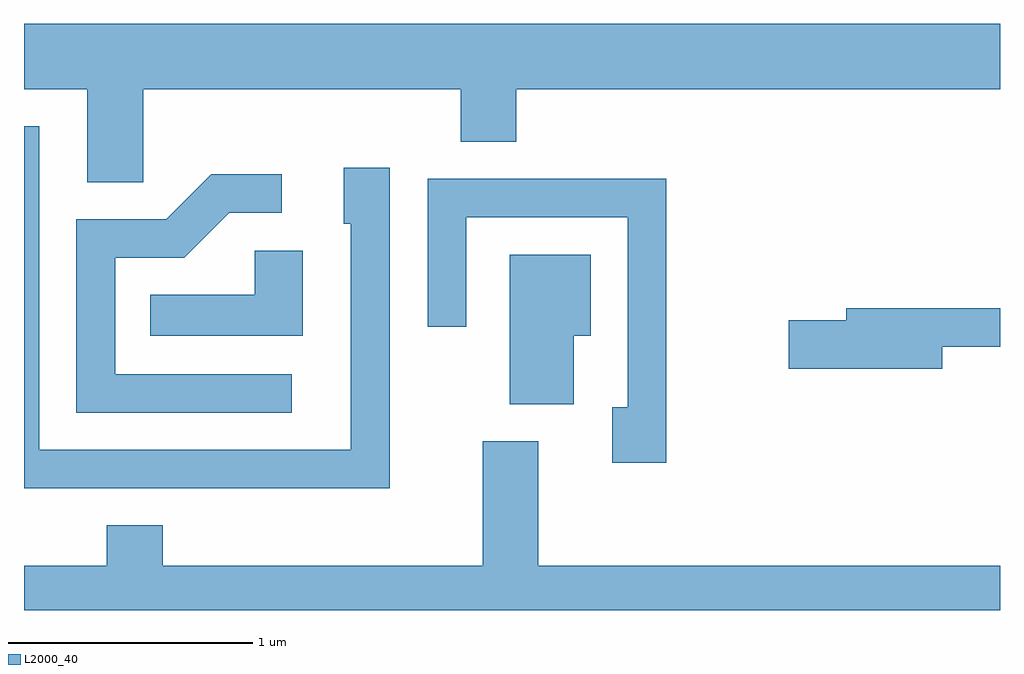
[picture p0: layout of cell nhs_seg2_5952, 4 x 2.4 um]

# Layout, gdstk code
import gdstk
lib = gdstk.Library(unit=1e-6, precision=1e-09)
def P(c, l, *ps):  # polygons
    for p in ps: c.add(gdstk.Polygon(p, *l))
L2000_40 = (2000, 40)

nhs_seg2_5952 = lib.new_cell('nhs_seg2_5952')
P(nhs_seg2_5952, L2000_40, [(362.099,983.936),(363.401,983.936),(363.401,983.721),(363.629,983.721),(363.629,983.936),(365.611,983.936),(365.611,984.204),(361.611,984.204),(361.611,983.936),(361.871,983.936),(361.871,983.556),(362.099,983.556)],
  [(363.109,983.614),(362.921,983.614),(362.921,983.386),(362.951,983.386),(362.951,982.459),(361.674,982.459),(361.674,983.784),(361.611,983.784),(361.611,982.301),(363.109,982.301)],
  [(362.708,982.769),(361.984,982.769),(361.984,983.246),(362.267,983.246),(362.452,983.431),(362.668,983.431),(362.668,983.589),(362.379,983.589),(362.194,983.404),(361.826,983.404),(361.826,982.611),(362.708,982.611)],
  [(364.244,983.569),(363.266,983.569),(363.266,982.963),(363.424,982.963),(363.424,983.411),(364.086,983.411),(364.086,982.634),(364.021,982.634),(364.021,982.406),(364.244,982.406)],
  [(362.754,983.274),(362.556,983.274),(362.556,983.094),(362.128,983.094),(362.128,982.926),(362.754,982.926)],
  [(363.864,982.926),(363.934,982.926),(363.934,983.259),(363.601,983.259),(363.601,982.646),(363.864,982.646)],
  [(365.374,982.881),(365.611,982.881),(365.611,983.039),(364.981,983.039),(364.981,982.989),(364.746,982.989),(364.746,982.791),(365.374,982.791)],
  [(365.611,981.984),(363.719,981.984),(363.719,982.494),(363.491,982.494),(363.491,981.984),(362.179,981.984),(362.179,982.149),(361.951,982.149),(361.951,981.984),(361.611,981.984),(361.611,981.802),(365.611,981.802)])

lib.write_gds('nhs_seg2_5952.gds')
